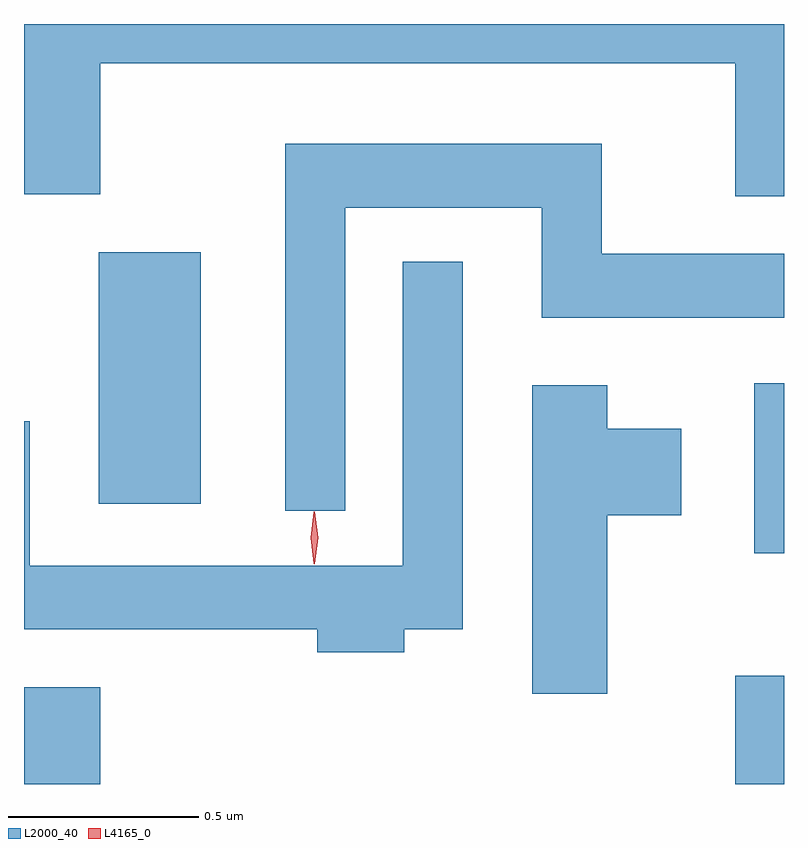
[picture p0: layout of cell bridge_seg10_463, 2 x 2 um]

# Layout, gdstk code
import gdstk
lib = gdstk.Library(unit=1e-6, precision=1e-09)
def R(c, l, rs):  # rectangles x0, y0, x1, y1
    for r in rs: c.add(gdstk.rectangle(r[:2], r[2:], *l))
def P(c, l, *ps):  # polygons
    for p in ps: c.add(gdstk.Polygon(p, *l))
L2000_40 = (2000, 40)
L4165_0 = (4165, 0)

bridge_seg10_463 = lib.new_cell('bridge_seg10_463')
R(bridge_seg10_463, L2000_40, [(1400.919,2134.219,1401.119,2134.474), (1402.791,2134.219,1402.919,2134.504), (1402.841,2134.826,1402.919,2135.274), (1401.116,2134.956,1401.384,2135.619)])
P(bridge_seg10_463, L2000_40, [(1402.919,2136.219),(1400.919,2136.219),(1400.919,2135.771),(1401.119,2135.771),(1401.119,2136.116),(1402.791,2136.116),(1402.791,2135.766),(1402.919,2135.766)],
  [(1401.764,2135.736),(1402.281,2135.736),(1402.281,2135.446),(1402.919,2135.446),(1402.919,2135.614),(1402.439,2135.614),(1402.439,2135.904),(1401.606,2135.904),(1401.606,2134.938),(1401.764,2134.938)],
  [(1401.919,2134.626),(1402.074,2134.626),(1402.074,2135.593),(1401.916,2135.593),(1401.916,2134.794),(1400.934,2134.794),(1400.934,2135.173),(1400.919,2135.173),(1400.919,2134.626),(1401.691,2134.626),(1401.691,2134.566),(1401.919,2134.566)],
  [(1402.454,2134.926),(1402.649,2134.926),(1402.649,2135.154),(1402.454,2135.154),(1402.454,2135.269),(1402.256,2135.269),(1402.256,2134.456),(1402.454,2134.456)])
P(bridge_seg10_463, L4165_0, [(1401.683,2134.797),(1401.682,2134.798),(1401.673,2134.867),(1401.682,2134.936),(1401.683,2134.936),(1401.684,2134.936),(1401.693,2134.867),(1401.684,2134.798)])

lib.write_gds('bridge_seg10_463.gds')
